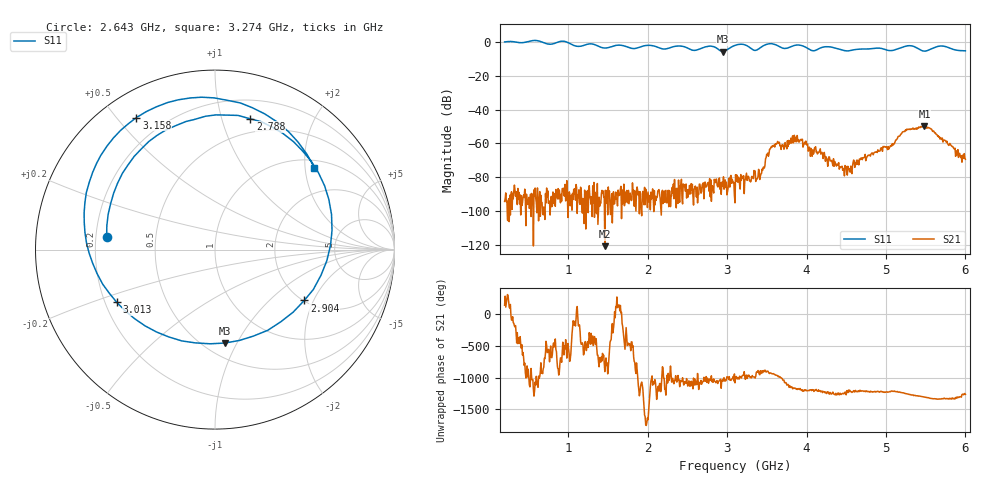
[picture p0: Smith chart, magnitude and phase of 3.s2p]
! NanoVNA-App by OneOfEleven et al v1.1.209 (+OD15)
! Date: 2024-07-30 15:17:41
! Start: 200MHz Stop: 6GHz Points: 801
! S-Parameter data: F S11 S21 S12 S22
# Hz S RI R 50
!  Frequency  S11_Real  S11_Imag  S21_Real  S21_Imag  S12_Real  S12_Imag  S22_Real  S22_Imag
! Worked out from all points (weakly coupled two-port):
!   801 points, 200 MHz to 6 GHz, reference 50 ohm
!   highest |S21| = -49.71 dB at 5.485 GHz (marker M1); lowest = -120.7 dB at 1.462 GHz (marker M2)
!   lowest |S11| = -5.6 dB at 2.948 GHz (marker M3), VSWR 3.20, Z = 31.1 - j44.6 ohm
!   |S11| at or under -10 dB: nowhere
!   S12 and S22 are empty: the file has one direction only
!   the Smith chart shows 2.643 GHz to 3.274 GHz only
!   S11 on the Smith chart (normalised r, x): 2.643 GHz: 0.24, +0.05; 2.788 GHz: 0.37, +1.24; 2.904 GHz: 2.02, -1.70; 3.013 GHz: 0.25, -0.24; 3.158 GHz: 0.10, +0.56; 3.274 GHz: 1.19, +2.24
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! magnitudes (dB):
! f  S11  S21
! 200 MHz  0.0  -94.3
! 1.171 GHz  -2.3  -96.9
! 1.462 GHz  -3.6  -120.7
! 2.136 GHz  -3.2  -87.8
! 2.643 GHz  -4.3  -90.1
! 2.788 GHz  -2.4  -91.4
! 2.904 GHz  -4.8  -80.4
! 2.948 GHz  -5.6  -85.3
! 3.013 GHz  -4.1  -86.5
! 3.1 GHz  -2.0  -95.1
! 3.158 GHz  -1.3  -84.4
! 3.274 GHz  -2.9  -79.9
! 3.441 GHz  -2.7  -75.1
! 3.528 GHz  -1.1  -66.3
! 3.629 GHz  -2.0  -59.9
! 3.869 GHz  -1.8  -56.2
! 4.072 GHz  -5.1  -67.5
! 4.543 GHz  -5.1  -76.6
! 5.036 GHz  -5.0  -63.3
! 5.239 GHz  -2.6  -52.9
! 5.485 GHz  -5.4  -49.7
! 6 GHz  -5.2  -69.3
